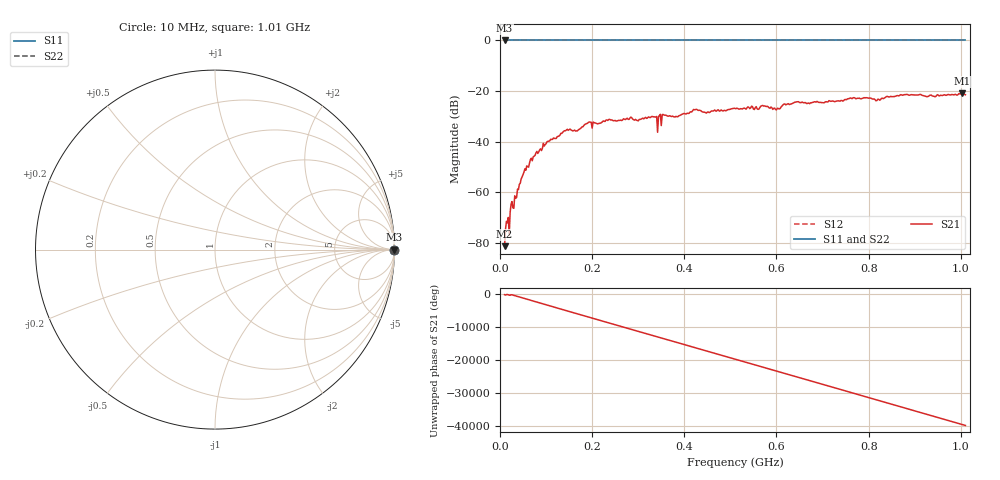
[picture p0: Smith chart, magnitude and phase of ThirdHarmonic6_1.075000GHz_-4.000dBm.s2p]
! 8/16/2025 9:47:51 AM
! C:\ANRITSUVNA\TEMP\TEMP.S2P
! CHANNEL.1
! TR.MEASUREMENT
! RAW.DATA
! RF.CORRECTION.OFF
! AVERAGING.OFF
! IF.BANDWIDTH: 5KHZ
! SWEEPTYPE:  FREQ.SWEEP(Linear)
! Reference Plane Port Info
! PORT:  PORT1  PORT2
! DISTANCE:  0  m  0  m
! TIME:  0  s  0  s
! PHASE.OFFSET:  0  deg.  0  deg.
! LOSS:  0  dB  0  dB
! REF.LOSS:  0  dB  0  dB
! REF.FREQ:  0  Hz  0  Hz
! Power Info
! POWER:  -20  dBm  -20  dBm
! EFF.POWER:  -20  dBm  -20  dBm
! SOURCE.ATTEN:  0  dB  0  dB
! TEST.ATTEN:  0  dB  0  dB
# GHZ S RI R 50.0
! FREQ.GHZ  S11RE  S11IM  S21RE  S21IM  S12RE  S12IM  S22RE  S22IM
!; PortSelection: Port_12
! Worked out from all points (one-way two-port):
!   501 points, 10 MHz to 1.01 GHz, reference 50 ohm
!   highest |S21| = -20.89 dB at 1.002 GHz (marker M1); lowest = -81.2 dB at 10 MHz (marker M2)
!   lowest |S11| = 0.0 dB at 10 MHz (marker M3)
!   |S11| at or under -10 dB: nowhere
!   |S22| runs from 0.0 to 0.0 dB; largest |S21 - S12| = 1.1
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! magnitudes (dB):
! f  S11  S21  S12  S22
! 10 MHz  0.0  -81.2  0.0  0.0
! 28 MHz  0.0  -66.1  0.0  0.0
! 32 MHz  0.0  -61.3  0.0  0.0
! 50 MHz  0.0  -52.9  0.0  0.0
! 70 MHz  0.0  -47.5  0.0  0.0
! 98 MHz  0.0  -41.1  0.0  0.0
! 142 MHz  0.0  -35.7  0.0  0.0
! 178 MHz  0.0  -34.1  0.0  0.0
! 234 MHz  0.0  -31.6  0.0  0.0
! 344 MHz  0.0  -30.0  0.0  0.0
! 356 MHz  0.0  -29.4  0.0  0.0
! 382 MHz  0.0  -29.9  0.0  0.0
! 424 MHz  0.0  -27.3  0.0  0.0
! 450 MHz  0.0  -28.3  0.0  0.0
! 510 MHz  0.0  -26.8  0.0  0.0
! 572 MHz  0.0  -25.9  0.0  0.0
! 602 MHz  0.0  -26.7  0.0  0.0
! 644 MHz  0.0  -24.2  0.0  0.0
! 678 MHz  0.0  -24.5  0.0  0.0
! 844 MHz  0.0  -22.3  0.0  0.0
! 1.002 GHz  0.0  -20.9  0.0  0.0
! 1.01 GHz  0.0  -21.4  0.0  0.0
